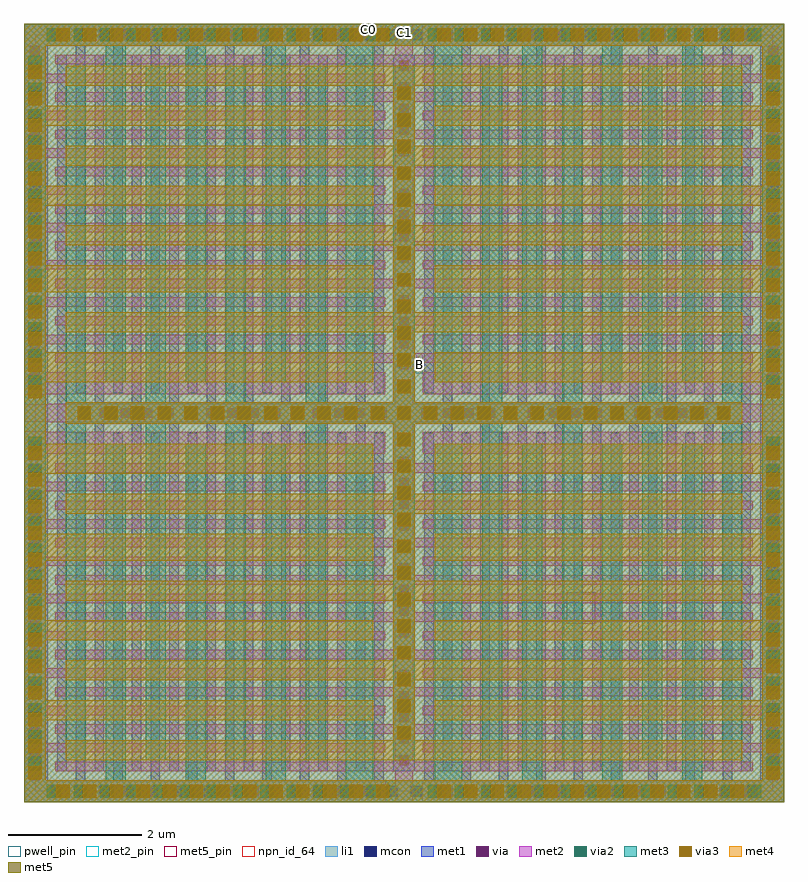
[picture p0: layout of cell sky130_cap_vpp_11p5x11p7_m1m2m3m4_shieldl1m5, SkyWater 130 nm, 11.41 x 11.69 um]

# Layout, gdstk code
import gdstk
lib = gdstk.Library(unit=1e-6, precision=1e-09)
def R(c, l, rs):  # rectangles x0, y0, x1, y1
    for r in rs: c.add(gdstk.rectangle(r[:2], r[2:], *l))
def A(c, l, x, y, w, h, nx, ny, dx, dy):  # array of equal rectangles
    R(c, l, [(x+i*dx, y+j*dy, x+i*dx+w, y+j*dy+h) for i in range(nx) for j in range(ny)])
def P(c, l, *ps):  # polygons
    for p in ps: c.add(gdstk.Polygon(p, *l))
li1 = (67, 20)
mcon = (67, 44)
met1 = (68, 20)
via = (68, 44)
met2_pin = (69, 16)
met2 = (69, 20)
via2 = (69, 44)
met3 = (70, 20)
via3 = (70, 44)
met4 = (71, 20)
met5_pin = (72, 16)
met5 = (72, 20)
npn_id_64 = (82, 64)
pwell_pin = (122, 16)

sky130_cap_vpp_11p5x11p7 = lib.new_cell('sky130_cap_vpp_11p5x11p7_m1m2m3m4_shieldl1m5')
R(sky130_cap_vpp_11p5x11p7, li1, [(0,0,11.41,11.69)])
A(sky130_cap_vpp_11p5x11p7, mcon, 0.4, 0.08, 0.17, 0.17, 30, 2, 0.36, 11.36)
A(sky130_cap_vpp_11p5x11p7, mcon, 0.08, 0.58, 0.17, 0.17, 1, 14, 0, 0.36)
A(sky130_cap_vpp_11p5x11p7, mcon, 11.16, 0.58, 0.17, 0.17, 1, 14, 0, 0.36)
A(sky130_cap_vpp_11p5x11p7, mcon, 0.08, 6.26, 0.17, 0.17, 1, 14, 0, 0.36)
A(sky130_cap_vpp_11p5x11p7, mcon, 11.16, 6.26, 0.17, 0.17, 1, 14, 0, 0.36)
A(sky130_cap_vpp_11p5x11p7, met1, 0.78, 0.33, 0.14, 5.215, 9, 2, 0.56, 5.815)
A(sky130_cap_vpp_11p5x11p7, met1, 6.01, 0.33, 0.14, 5.215, 9, 2, 0.56, 5.815)
A(sky130_cap_vpp_11p5x11p7, met1, 0.5, 0.47, 0.14, 5.215, 9, 2, 0.56, 5.535)
A(sky130_cap_vpp_11p5x11p7, met1, 6.29, 0.47, 0.14, 5.215, 9, 2, 0.56, 5.535)
R(sky130_cap_vpp_11p5x11p7, met1, [(0,0,5.84,0.33), (5.57,0,11.41,0.33), (0,0.33,0.36,5.55), (11.05,0.33,11.41,5.545), (5.54,0.47,5.87,5.685), (11.05,5.545,11.41,6.145), (0,5.55,0.36,6.145), (0.5,5.685,5.84,6.005), (5.57,5.685,10.91,6.005), (5.54,6.005,5.87,11.22), (0,6.145,0.36,11.36), (11.05,6.145,11.41,11.36), (0,11.36,5.84,11.69), (5.57,11.36,11.41,11.69)])
A(sky130_cap_vpp_11p5x11p7, via, 4.015, 0.09, 0.15, 0.15, 1, 3, 0, 5.68)
A(sky130_cap_vpp_11p5x11p7, via, 7.245, 0.09, 0.15, 0.15, 1, 3, 0, 5.68)
A(sky130_cap_vpp_11p5x11p7, via, 0.09, 0.335, 0.15, 0.15, 1, 16, 0, 0.32)
A(sky130_cap_vpp_11p5x11p7, via, 11.17, 0.335, 0.15, 0.15, 1, 16, 0, 0.32)
A(sky130_cap_vpp_11p5x11p7, via, 5.63, 0.56, 0.15, 0.15, 1, 16, 0, 0.32)
A(sky130_cap_vpp_11p5x11p7, via, 0.815, 5.77, 0.15, 0.15, 11, 1, 0.32, 0)
A(sky130_cap_vpp_11p5x11p7, via, 7.245, 5.77, 0.15, 0.15, 11, 1, 0.32, 0)
A(sky130_cap_vpp_11p5x11p7, via, 5.63, 6.18, 0.15, 0.15, 1, 16, 0, 0.32)
A(sky130_cap_vpp_11p5x11p7, via, 0.09, 6.405, 0.15, 0.15, 1, 16, 0, 0.32)
A(sky130_cap_vpp_11p5x11p7, via, 11.17, 6.405, 0.15, 0.15, 1, 16, 0, 0.32)
R(sky130_cap_vpp_11p5x11p7, via, [(0.495,0.09,0.645,0.24), (0.495,0.09,0.645,0.24), (0.815,0.09,0.965,0.24), (0.815,0.09,0.965,0.24), (1.135,0.09,1.285,0.24), (1.135,0.09,1.285,0.24), (1.455,0.09,1.605,0.24), (1.455,0.09,1.605,0.24), (1.775,0.09,1.925,0.24), (1.775,0.09,1.925,0.24), (2.095,0.09,2.245,0.24), (2.095,0.09,2.245,0.24), (2.415,0.09,2.565,0.24), (2.415,0.09,2.565,0.24), (2.735,0.09,2.885,0.24), (2.735,0.09,2.885,0.24), (3.055,0.09,3.205,0.24), (3.055,0.09,3.205,0.24), (3.375,0.09,3.525,0.24), (3.375,0.09,3.525,0.24), (3.695,0.09,3.845,0.24), (3.695,0.09,3.845,0.24), (4.015,0.09,4.165,0.24), (4.335,0.09,4.485,0.24), (4.335,0.09,4.485,0.24), (4.655,0.09,4.805,0.24), (4.655,0.09,4.805,0.24), (4.975,0.09,5.125,0.24), (4.975,0.09,5.125,0.24), (6.285,0.09,6.435,0.24), (6.285,0.09,6.435,0.24), (6.605,0.09,6.755,0.24), (6.605,0.09,6.755,0.24), (6.925,0.09,7.075,0.24), (6.925,0.09,7.075,0.24), (7.245,0.09,7.395,0.24), (7.565,0.09,7.715,0.24), (7.565,0.09,7.715,0.24), (7.885,0.09,8.035,0.24), (7.885,0.09,8.035,0.24), (8.205,0.09,8.355,0.24), (8.205,0.09,8.355,0.24), (8.525,0.09,8.675,0.24), (8.525,0.09,8.675,0.24), (8.845,0.09,8.995,0.24), (8.845,0.09,8.995,0.24), (9.165,0.09,9.315,0.24), (9.165,0.09,9.315,0.24), (9.485,0.09,9.635,0.24), (9.485,0.09,9.635,0.24), (9.805,0.09,9.955,0.24), (9.805,0.09,9.955,0.24), (10.125,0.09,10.275,0.24), (10.125,0.09,10.275,0.24), (10.445,0.09,10.595,0.24), (10.445,0.09,10.595,0.24), (10.765,0.09,10.915,0.24), (10.765,0.09,10.915,0.24), (4.335,5.77,4.485,5.92), (4.335,5.77,4.485,5.92), (4.655,5.77,4.805,5.92), (4.655,5.77,4.805,5.92), (4.975,5.77,5.125,5.92), (4.975,5.77,5.125,5.92), (5.295,5.77,5.445,5.92), (5.295,5.77,5.445,5.92), (5.965,5.77,6.115,5.92), (5.965,5.77,6.115,5.92), (6.285,5.77,6.435,5.92), (6.285,5.77,6.435,5.92), (6.605,5.77,6.755,5.92), (6.605,5.77,6.755,5.92), (6.925,5.77,7.075,5.92), (6.925,5.77,7.075,5.92), (0.495,11.45,0.645,11.6), (0.495,11.45,0.645,11.6), (0.815,11.45,0.965,11.6), (0.815,11.45,0.965,11.6), (1.135,11.45,1.285,11.6), (1.135,11.45,1.285,11.6), (1.455,11.45,1.605,11.6), (1.455,11.45,1.605,11.6), (1.775,11.45,1.925,11.6), (1.775,11.45,1.925,11.6), (2.095,11.45,2.245,11.6), (2.095,11.45,2.245,11.6), (2.415,11.45,2.565,11.6), (2.415,11.45,2.565,11.6), (2.735,11.45,2.885,11.6), (2.735,11.45,2.885,11.6), (3.055,11.45,3.205,11.6), (3.055,11.45,3.205,11.6), (3.375,11.45,3.525,11.6), (3.375,11.45,3.525,11.6), (3.695,11.45,3.845,11.6), (3.695,11.45,3.845,11.6), (4.015,11.45,4.165,11.6), (4.335,11.45,4.485,11.6), (4.335,11.45,4.485,11.6), (4.655,11.45,4.805,11.6), (4.655,11.45,4.805,11.6), (4.975,11.45,5.125,11.6), (4.975,11.45,5.125,11.6), (6.285,11.45,6.435,11.6), (6.285,11.45,6.435,11.6), (6.605,11.45,6.755,11.6), (6.605,11.45,6.755,11.6), (6.925,11.45,7.075,11.6), (6.925,11.45,7.075,11.6), (7.245,11.45,7.395,11.6), (7.565,11.45,7.715,11.6), (7.565,11.45,7.715,11.6), (7.885,11.45,8.035,11.6), (7.885,11.45,8.035,11.6), (8.205,11.45,8.355,11.6), (8.205,11.45,8.355,11.6), (8.525,11.45,8.675,11.6), (8.525,11.45,8.675,11.6), (8.845,11.45,8.995,11.6), (8.845,11.45,8.995,11.6), (9.165,11.45,9.315,11.6), (9.165,11.45,9.315,11.6), (9.485,11.45,9.635,11.6), (9.485,11.45,9.635,11.6), (9.805,11.45,9.955,11.6), (9.805,11.45,9.955,11.6), (10.125,11.45,10.275,11.6), (10.125,11.45,10.275,11.6), (10.445,11.45,10.595,11.6), (10.445,11.45,10.595,11.6), (10.765,11.45,10.915,11.6), (10.765,11.45,10.915,11.6)])
R(sky130_cap_vpp_11p5x11p7, met2_pin, [(5.605,11.47,5.815,11.65), (5.095,11.53,5.245,11.67)])
P(sky130_cap_vpp_11p5x11p7, met2, [(5.98,0),(5.98,0.33),(11.08,0.33),(11.08,0.75),(5.985,0.75),(5.985,0.89),(11.08,0.89),(11.08,1.31),(5.985,1.31),(5.985,1.45),(11.08,1.45),(11.08,1.87),(5.985,1.87),(5.985,2.01),(11.08,2.01),(11.08,2.43),(5.985,2.43),(5.985,2.57),(11.08,2.57),(11.08,2.99),(5.985,2.99),(5.985,3.13),(11.08,3.13),(11.08,3.55),(5.985,3.55),(5.985,3.69),(11.08,3.69),(11.08,4.11),(5.985,4.11),(5.985,4.25),(11.08,4.25),(11.08,4.67),(5.985,4.67),(5.985,4.81),(11.08,4.81),(11.08,5.23),(5.985,5.23),(5.985,5.565),(11.08,5.565),(11.08,5.57),(11.41,5.57),(11.41,0)],
  [(5.57,0),(5.57,0.47),(0.47,0.47),(0.47,0.61),(5.565,0.61),(5.565,1.03),(0.47,1.03),(0.47,1.17),(5.565,1.17),(5.565,1.59),(0.47,1.59),(0.47,1.73),(5.565,1.73),(5.565,2.15),(0.47,2.15),(0.47,2.29),(5.565,2.29),(5.565,2.71),(0.47,2.71),(0.47,2.85),(5.565,2.85),(5.565,3.27),(0.47,3.27),(0.47,3.41),(5.565,3.41),(5.565,3.83),(0.47,3.83),(0.47,3.97),(5.565,3.97),(5.565,4.39),(0.47,4.39),(0.47,4.53),(5.565,4.53),(5.565,4.95),(0.47,4.95),(0.47,5.09),(5.565,5.09),(5.565,5.705),(0.37,5.705),(0.37,5.71),(0,5.71),(0,5.98),(0.37,5.98),(0.37,5.985),(5.565,5.985),(5.565,6.6),(0.47,6.6),(0.47,6.74),(5.565,6.74),(5.565,7.16),(0.47,7.16),(0.47,7.3),(5.565,7.3),(5.565,7.72),(0.47,7.72),(0.47,7.86),(5.565,7.86),(5.565,8.28),(0.47,8.28),(0.47,8.42),(5.565,8.42),(5.565,8.84),(0.47,8.84),(0.47,8.98),(5.565,8.98),(5.565,9.4),(0.47,9.4),(0.47,9.54),(5.565,9.54),(5.565,9.96),(0.47,9.96),(0.47,10.1),(5.565,10.1),(5.565,10.52),(0.47,10.52),(0.47,10.66),(5.565,10.66),(5.565,11.08),(0.47,11.08),(0.47,11.22),(5.57,11.22),(5.57,11.69),(5.84,11.69),(5.84,11.22),(10.94,11.22),(10.94,11.08),(5.845,11.08),(5.845,10.66),(10.94,10.66),(10.94,10.52),(5.845,10.52),(5.845,10.1),(10.94,10.1),(10.94,9.96),(5.845,9.96),(5.845,9.54),(10.94,9.54),(10.94,9.4),(5.845,9.4),(5.845,8.98),(10.94,8.98),(10.94,8.84),(5.845,8.84),(5.845,8.42),(10.94,8.42),(10.94,8.28),(5.845,8.28),(5.845,7.86),(10.94,7.86),(10.94,7.72),(5.845,7.72),(5.845,7.3),(10.94,7.3),(10.94,7.16),(5.845,7.16),(5.845,6.74),(10.94,6.74),(10.94,6.6),(5.845,6.6),(5.845,5.985),(11.04,5.985),(11.04,5.98),(11.41,5.98),(11.41,5.71),(11.04,5.71),(11.04,5.705),(5.845,5.705),(5.845,5.09),(10.94,5.09),(10.94,4.95),(5.845,4.95),(5.845,4.53),(10.94,4.53),(10.94,4.39),(5.845,4.39),(5.845,3.97),(10.94,3.97),(10.94,3.83),(5.845,3.83),(5.845,3.41),(10.94,3.41),(10.94,3.27),(5.845,3.27),(5.845,2.85),(10.94,2.85),(10.94,2.71),(5.845,2.71),(5.845,2.29),(10.94,2.29),(10.94,2.15),(5.845,2.15),(5.845,1.73),(10.94,1.73),(10.94,1.59),(5.845,1.59),(5.845,1.17),(10.94,1.17),(10.94,1.03),(5.845,1.03),(5.845,0.61),(10.94,0.61),(10.94,0.47),(5.84,0.47),(5.84,0)],
  [(11.08,6.12),(11.08,6.125),(5.985,6.125),(5.985,6.46),(11.08,6.46),(11.08,6.88),(5.985,6.88),(5.985,7.02),(11.08,7.02),(11.08,7.44),(5.985,7.44),(5.985,7.58),(11.08,7.58),(11.08,8),(5.985,8),(5.985,8.14),(11.08,8.14),(11.08,8.56),(5.985,8.56),(5.985,8.7),(11.08,8.7),(11.08,9.12),(5.985,9.12),(5.985,9.26),(11.08,9.26),(11.08,9.68),(5.985,9.68),(5.985,9.82),(11.08,9.82),(11.08,10.24),(5.985,10.24),(5.985,10.38),(11.08,10.38),(11.08,10.8),(5.985,10.8),(5.985,10.94),(11.08,10.94),(11.08,11.36),(5.98,11.36),(5.98,11.69),(11.41,11.69),(11.41,6.12)],
  [(0,0),(0,5.57),(0.33,5.57),(0.33,5.565),(5.425,5.565),(5.425,5.23),(0.33,5.23),(0.33,4.81),(5.425,4.81),(5.425,4.67),(0.33,4.67),(0.33,4.25),(5.425,4.25),(5.425,4.11),(0.33,4.11),(0.33,3.69),(5.425,3.69),(5.425,3.55),(0.33,3.55),(0.33,3.13),(5.425,3.13),(5.425,2.99),(0.33,2.99),(0.33,2.57),(5.425,2.57),(5.425,2.43),(0.33,2.43),(0.33,2.01),(5.425,2.01),(5.425,1.87),(0.33,1.87),(0.33,1.45),(5.425,1.45),(5.425,1.31),(0.33,1.31),(0.33,0.89),(5.425,0.89),(5.425,0.75),(0.33,0.75),(0.33,0.33),(5.43,0.33),(5.43,0)],
  [(0,6.12),(0,11.69),(5.43,11.69),(5.43,11.36),(0.33,11.36),(0.33,10.94),(5.425,10.94),(5.425,10.8),(0.33,10.8),(0.33,10.38),(5.425,10.38),(5.425,10.24),(0.33,10.24),(0.33,9.82),(5.425,9.82),(5.425,9.68),(0.33,9.68),(0.33,9.26),(5.425,9.26),(5.425,9.12),(0.33,9.12),(0.33,8.7),(5.425,8.7),(5.425,8.56),(0.33,8.56),(0.33,8.14),(5.425,8.14),(5.425,8),(0.33,8),(0.33,7.58),(5.425,7.58),(5.425,7.44),(0.33,7.44),(0.33,7.02),(5.425,7.02),(5.425,6.88),(0.33,6.88),(0.33,6.46),(5.425,6.46),(5.425,6.125),(0.33,6.125),(0.33,6.12)])
A(sky130_cap_vpp_11p5x11p7, via2, 0.345, 0.065, 0.2, 0.2, 13, 2, 0.4, 11.36)
A(sky130_cap_vpp_11p5x11p7, via2, 6.065, 0.065, 0.2, 0.2, 13, 2, 0.4, 11.36)
A(sky130_cap_vpp_11p5x11p7, via2, 0.065, 0.485, 0.2, 0.2, 1, 13, 0, 0.4)
A(sky130_cap_vpp_11p5x11p7, via2, 11.145, 0.485, 0.2, 0.2, 1, 13, 0, 0.4)
A(sky130_cap_vpp_11p5x11p7, via2, 5.605, 0.945, 0.2, 0.2, 1, 13, 0, 0.4)
A(sky130_cap_vpp_11p5x11p7, via2, 0.805, 5.745, 0.2, 0.2, 13, 1, 0.4, 0)
A(sky130_cap_vpp_11p5x11p7, via2, 5.605, 5.745, 0.2, 0.2, 1, 13, 0, 0.4)
A(sky130_cap_vpp_11p5x11p7, via2, 5.605, 5.745, 0.2, 0.2, 13, 1, 0.4, 0)
A(sky130_cap_vpp_11p5x11p7, via2, 0.065, 6.205, 0.2, 0.2, 1, 13, 0, 0.4)
A(sky130_cap_vpp_11p5x11p7, via2, 11.145, 6.205, 0.2, 0.2, 1, 13, 0, 0.4)
P(sky130_cap_vpp_11p5x11p7, met3, [(0,0),(0,11.69),(11.08,11.69),(11.08,11.36),(10.18,11.36),(10.18,6.31),(9.88,6.31),(9.88,11.36),(8.98,11.36),(8.98,6.31),(8.68,6.31),(8.68,11.36),(7.78,11.36),(7.78,6.31),(7.48,6.31),(7.48,11.36),(6.58,11.36),(6.58,6.31),(6.17,6.31),(6.17,11.36),(5.24,11.36),(5.24,6.31),(4.83,6.31),(4.83,11.36),(3.93,11.36),(3.93,6.31),(3.63,6.31),(3.63,11.36),(2.73,11.36),(2.73,6.31),(2.43,6.31),(2.43,11.36),(1.53,11.36),(1.53,6.31),(1.23,6.31),(1.23,11.36),(0.33,11.36),(0.33,0.33),(1.23,0.33),(1.23,5.38),(1.53,5.38),(1.53,0.33),(2.43,0.33),(2.43,5.38),(2.73,5.38),(2.73,0.33),(3.63,0.33),(3.63,5.38),(3.93,5.38),(3.93,0.33),(4.83,0.33),(4.83,5.38),(5.24,5.38),(5.24,0.33),(6.17,0.33),(6.17,5.38),(6.58,5.38),(6.58,0.33),(7.48,0.33),(7.48,5.38),(7.78,5.38),(7.78,0.33),(8.68,0.33),(8.68,5.38),(8.98,5.38),(8.98,0.33),(9.88,0.33),(9.88,5.38),(10.18,5.38),(10.18,0.33),(11.08,0.33),(11.08,11.69),(11.41,11.69),(11.41,0)],
  [(0.63,0.63),(0.63,11.06),(0.93,11.06),(0.93,6.01),(1.83,6.01),(1.83,11.06),(2.13,11.06),(2.13,6.01),(3.03,6.01),(3.03,11.06),(3.33,11.06),(3.33,6.01),(4.23,6.01),(4.23,11.06),(4.53,11.06),(4.53,6.01),(5.54,6.01),(5.54,11.06),(5.87,11.06),(5.87,6.01),(6.88,6.01),(6.88,11.06),(7.18,11.06),(7.18,6.01),(8.08,6.01),(8.08,11.06),(8.38,11.06),(8.38,6.01),(9.28,6.01),(9.28,11.06),(9.58,11.06),(9.58,6.01),(10.48,6.01),(10.48,11.06),(10.78,11.06),(10.78,0.63),(10.48,0.63),(10.48,5.68),(9.58,5.68),(9.58,0.63),(9.28,0.63),(9.28,5.68),(8.38,5.68),(8.38,0.63),(8.08,0.63),(8.08,5.68),(7.18,5.68),(7.18,0.63),(6.88,0.63),(6.88,5.68),(5.87,5.68),(5.87,0.63),(5.54,0.63),(5.54,5.68),(4.53,5.68),(4.53,0.63),(4.23,0.63),(4.23,5.68),(3.33,5.68),(3.33,0.63),(3.03,0.63),(3.03,5.68),(2.13,5.68),(2.13,0.63),(1.83,0.63),(1.83,5.68),(0.93,5.68),(0.93,0.63)])
A(sky130_cap_vpp_11p5x11p7, via3, 0.485, 0.065, 0.2, 0.2, 13, 2, 0.4, 11.36)
A(sky130_cap_vpp_11p5x11p7, via3, 6.205, 0.065, 0.2, 0.2, 12, 2, 0.4, 11.36)
A(sky130_cap_vpp_11p5x11p7, via3, 0.065, 0.345, 0.2, 0.2, 1, 13, 0, 0.4)
A(sky130_cap_vpp_11p5x11p7, via3, 11.145, 0.345, 0.2, 0.2, 1, 13, 0, 0.4)
A(sky130_cap_vpp_11p5x11p7, via3, 5.605, 0.945, 0.2, 0.2, 1, 13, 0, 0.4)
A(sky130_cap_vpp_11p5x11p7, via3, 0.805, 5.745, 0.2, 0.2, 13, 1, 0.4, 0)
A(sky130_cap_vpp_11p5x11p7, via3, 5.605, 5.745, 0.2, 0.2, 1, 13, 0, 0.4)
A(sky130_cap_vpp_11p5x11p7, via3, 5.605, 5.745, 0.2, 0.2, 13, 1, 0.4, 0)
A(sky130_cap_vpp_11p5x11p7, via3, 0.065, 6.065, 0.2, 0.2, 1, 13, 0, 0.4)
A(sky130_cap_vpp_11p5x11p7, via3, 11.145, 6.065, 0.2, 0.2, 1, 13, 0, 0.4)
P(sky130_cap_vpp_11p5x11p7, met4, [(0.63,0.63),(0.63,0.93),(5.54,0.93),(5.54,1.83),(0.63,1.83),(0.63,2.13),(5.54,2.13),(5.54,3.03),(0.63,3.03),(0.63,3.33),(5.54,3.33),(5.54,4.33),(0.63,4.33),(0.63,4.63),(5.54,4.63),(5.54,5.68),(0.63,5.68),(0.63,6.01),(5.54,6.01),(5.54,7.06),(0.63,7.06),(0.63,7.36),(5.54,7.36),(5.54,8.36),(0.63,8.36),(0.63,8.66),(5.54,8.66),(5.54,9.56),(0.63,9.56),(0.63,9.86),(5.54,9.86),(5.54,10.76),(0.63,10.76),(0.63,11.06),(10.78,11.06),(10.78,10.76),(5.87,10.76),(5.87,9.86),(10.78,9.86),(10.78,9.56),(5.87,9.56),(5.87,8.66),(10.78,8.66),(10.78,8.36),(5.87,8.36),(5.87,7.36),(10.78,7.36),(10.78,7.06),(5.87,7.06),(5.87,6.01),(10.78,6.01),(10.78,5.68),(5.87,5.68),(5.87,4.63),(10.78,4.63),(10.78,4.33),(5.87,4.33),(5.87,3.33),(10.78,3.33),(10.78,3.03),(5.87,3.03),(5.87,2.13),(10.78,2.13),(10.78,1.83),(5.87,1.83),(5.87,0.93),(10.78,0.93),(10.78,0.63)],
  [(0,0),(0,11.36),(0.33,11.36),(0.33,10.46),(5.24,10.46),(5.24,10.16),(0.33,10.16),(0.33,9.26),(5.24,9.26),(5.24,8.96),(0.33,8.96),(0.33,8.06),(5.24,8.06),(5.24,7.66),(0.33,7.66),(0.33,6.76),(5.24,6.76),(5.24,6.31),(0.33,6.31),(0.33,5.38),(5.24,5.38),(5.24,4.93),(0.33,4.93),(0.33,4.03),(5.24,4.03),(5.24,3.63),(0.33,3.63),(0.33,2.73),(5.24,2.73),(5.24,2.43),(0.33,2.43),(0.33,1.53),(5.24,1.53),(5.24,1.23),(0.33,1.23),(0.33,0.33),(11.08,0.33),(11.08,1.23),(6.17,1.23),(6.17,1.53),(11.08,1.53),(11.08,2.43),(6.17,2.43),(6.17,2.73),(11.08,2.73),(11.08,3.63),(6.17,3.63),(6.17,4.03),(11.08,4.03),(11.08,4.93),(6.17,4.93),(6.17,5.38),(11.08,5.38),(11.08,6.31),(6.17,6.31),(6.17,6.76),(11.08,6.76),(11.08,7.66),(6.17,7.66),(6.17,8.06),(11.08,8.06),(11.08,8.96),(6.17,8.96),(6.17,9.26),(11.08,9.26),(11.08,10.16),(6.17,10.16),(6.17,10.46),(11.08,10.46),(11.08,11.36),(0,11.36),(0,11.69),(11.41,11.69),(11.41,0)])
R(sky130_cap_vpp_11p5x11p7, met5_pin, [(8.145,2.68,8.58,3.155)])
R(sky130_cap_vpp_11p5x11p7, met5, [(0,0,11.41,11.69)])
R(sky130_cap_vpp_11p5x11p7, npn_id_64, [(0.17,0.17,11.24,11.52)])
R(sky130_cap_vpp_11p5x11p7, pwell_pin, [(5.88,6.445,5.985,6.69)])
sky130_cap_vpp_11p5x11p7.add(gdstk.Label('C1', (5.71,11.56), layer=69, texttype=5))
sky130_cap_vpp_11p5x11p7.add(gdstk.Label('C0', (5.17,11.6), layer=69, texttype=5))
sky130_cap_vpp_11p5x11p7.add(gdstk.Label('B', (5.935,6.57), layer=64, texttype=59))

lib.write_gds('sky130_cap_vpp_11p5x11p7_m1m2m3m4_shieldl1m5.gds')
